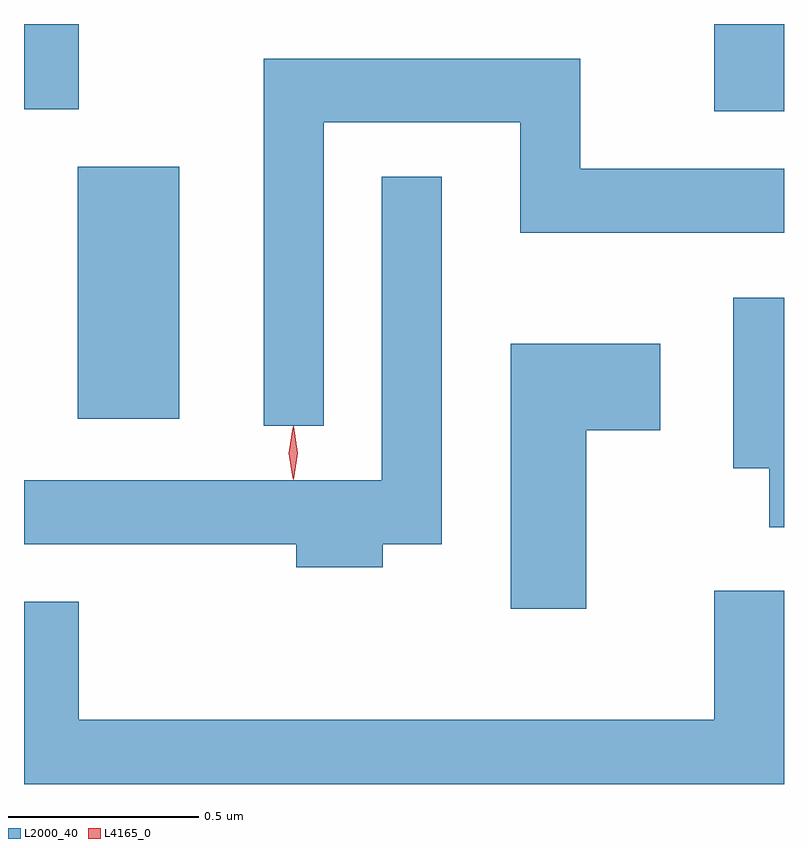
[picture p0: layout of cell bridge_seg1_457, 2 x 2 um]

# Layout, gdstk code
import gdstk
lib = gdstk.Library(unit=1e-6, precision=1e-09)
def R(c, l, rs):  # rectangles x0, y0, x1, y1
    for r in rs: c.add(gdstk.rectangle(r[:2], r[2:], *l))
def P(c, l, *ps):  # polygons
    for p in ps: c.add(gdstk.Polygon(p, *l))
L2000_40 = (2000, 40)
L4165_0 = (4165, 0)

bridge_seg1_457 = lib.new_cell('bridge_seg1_457')
R(bridge_seg1_457, L2000_40, [(359.566,887.316,359.834,887.979), (361.241,888.126,361.425,888.355), (359.425,888.131,359.569,888.355)])
P(bridge_seg1_457, L2000_40, [(360.214,888.096),(360.731,888.096),(360.731,887.806),(361.425,887.806),(361.425,887.974),(360.889,887.974),(360.889,888.264),(360.056,888.264),(360.056,887.298),(360.214,887.298)],
  [(360.369,886.986),(360.524,886.986),(360.524,887.953),(360.366,887.953),(360.366,887.154),(359.425,887.154),(359.425,886.986),(360.141,886.986),(360.141,886.926),(360.369,886.926)],
  [(361.425,887.634),(361.291,887.634),(361.291,887.186),(361.386,887.186),(361.386,887.031),(361.425,887.031)],
  [(360.904,887.286),(361.099,887.286),(361.099,887.514),(360.706,887.514),(360.706,886.816),(360.904,886.816)],
  [(361.425,886.864),(361.241,886.864),(361.241,886.524),(359.569,886.524),(359.569,886.834),(359.425,886.834),(359.425,886.355),(361.425,886.355)])
P(bridge_seg1_457, L4165_0, [(360.132,887.159),(360.132,887.16),(360.122,887.226),(360.132,887.292),(360.132,887.293),(360.132,887.292),(360.142,887.226),(360.132,887.16)],
  [(360.134,887.157),(360.125,887.226),(360.134,887.296),(360.135,887.296),(360.135,887.296),(360.145,887.226),(360.135,887.157),(360.135,887.157)])

lib.write_gds('bridge_seg1_457.gds')
